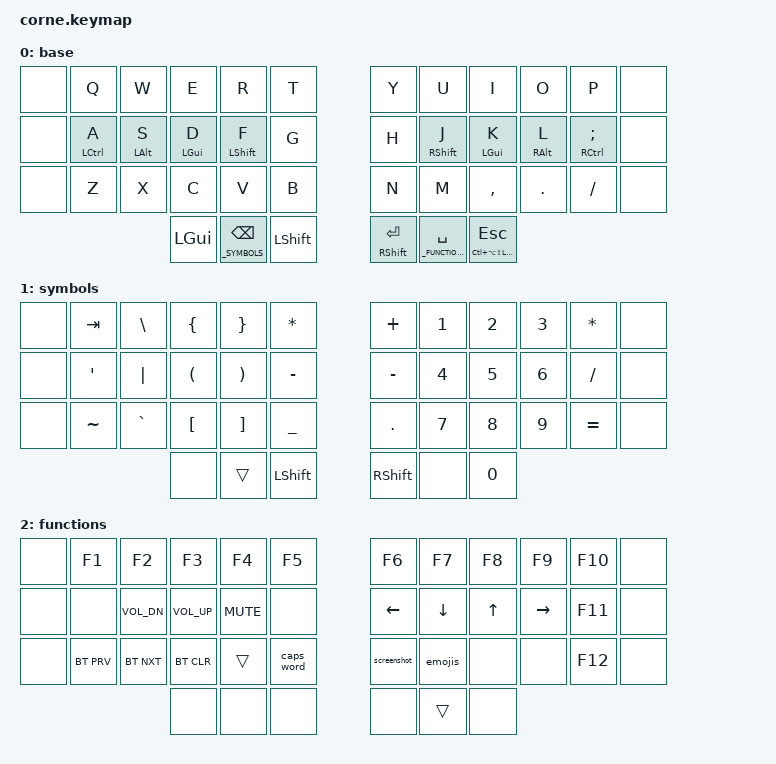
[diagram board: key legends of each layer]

#include <behaviors.dtsi>
#include <dt-bindings/zmk/keys.h>
#include <dt-bindings/zmk/bt.h>

#define _BASE      0
#define _SYMBOLS   1
#define _FUNCTIONS 2

/ {
        behaviors {
                hm_l: homerow_mods_left {
                        compatible = "zmk,behavior-hold-tap";
                        label = "HM_L";
                        #binding-cells = <2>;
                        bindings = <&kp>, <&kp>;
                        flavor = "tap-preferred";
                        tapping-term-ms = <200>;
                        quick-tap-ms = <250>;
                        require-prior-idle-ms = <150>;
                        hold-trigger-on-release;
                        /*
                        * Left-hand HRMs should only become holds when you press:
                        * - Any RIGHT-hand key positions (all rows)
                        * - Any THUMB key positions (both thumbs)
                        * This prevents same-hand rolls like A->S from turning into Ctrl/Alt/etc.
                        */
                        hold-trigger-key-positions = <
                                /* Right half (top, home, bottom) */
                                 6  7  8  9 10 11
                                18 19 20 21 22 23
                                30 31 32 33 34 35

                                /* Thumbs (both halves) */
                                36 37 38
                                39 40 41
                        >;
                };

                hm_r: homerow_mods_right {
                        compatible = "zmk,behavior-hold-tap";
                        label = "HM_R";
                        #binding-cells = <2>;
                        bindings = <&kp>, <&kp>;
                        flavor = "tap-preferred";
                        tapping-term-ms = <200>;
                        quick-tap-ms = <250>;
                        require-prior-idle-ms = <150>;
                        hold-trigger-on-release;
                        /*
                         * Right-hand HRMs should only become holds when you press:
                         * - Any LEFT-hand key positions (all rows)
                         * - Any THUMB key positions (both thumbs)
                         */
                         hold-trigger-key-positions = <
                                 /* Left half (top, home, bottom) */
                                  0  1  2  3  4  5
                                 12 13 14 15 16 17
                                 24 25 26 27 28 29

                                 /* Thumbs (both halves) */
                                 36 37 38
                                 39 40 41
                         >;
                };

                /* Layer-tap with quick-tap for double-tap-hold repeat */
                ltq: layer_tap_quick {
                        compatible = "zmk,behavior-hold-tap";
                        label = "LT_QUICK";
                        #binding-cells = <2>;
                        bindings = <&mo>, <&kp>;
                        flavor = "tap-preferred";
                        tapping-term-ms = <200>;
                        quick-tap-ms = <250>;
                };

                /* Mod-tap with quick-tap for double-tap-hold repeat */
                mtq: mod_tap_quick {
                        compatible = "zmk,behavior-hold-tap";
                        label = "MT_QUICK";
                        #binding-cells = <2>;
                        bindings = <&kp>, <&kp>;
                        flavor = "tap-preferred";
                        tapping-term-ms = <200>;
                        quick-tap-ms = <250>;
                };
        };

        macros {
                screenshot: screenshot {
                        label = "screenshot";
                        compatible = "zmk,behavior-macro";
                        #binding-cells = <0>;
                        bindings
                            = <&macro_press &kp RGUI>
                            , <&macro_press &kp LSHFT>
                            , <&macro_tap &kp N4>
                            , <&macro_release &kp LSHFT>
                            , <&macro_release &kp RGUI>
                            ;
                };

                emojis: emojis {
                        label = "emojis";
                        compatible = "zmk,behavior-macro";
                        #binding-cells = <0>;
                        bindings
                            = <&macro_press &kp RGUI>
                            , <&macro_press &kp LCTRL>
                            , <&macro_tap &kp SPACE>
                            , <&macro_release &kp LCTRL>
                            , <&macro_release &kp RGUI>
                            ;
                };
        };

        combos {
                compatible = "zmk,combos";

                combo_esc {
                        timeout-ms = <50>;
                        key-positions = <20 21>;
                        bindings = <&kp ESC>;
                };
        };

        keymap {
                compatible = "zmk,keymap";

                base_layer {
                        display-name = "base";
                        bindings = <
   &none    &kp Q            &kp W           &kp E           &kp R            &kp T      &kp Y    &kp U            &kp I           &kp O           &kp P               &none
   &none    &hm_l LCTRL A    &hm_l LALT S    &hm_l LGUI D    &hm_l LSHFT F    &kp G      &kp H    &hm_r RSHFT J    &hm_r LGUI K    &hm_r RALT L    &hm_r RCTRL SEMI    &none
   &none    &kp Z            &kp X           &kp C           &kp V            &kp B      &kp N    &kp M            &kp COMMA       &kp DOT         &kp FSLH            &none

   &kp LGUI    &ltq _SYMBOLS BSPC    &kp LSHFT      &mtq RSHFT RET   &ltq _FUNCTIONS SPACE   &mtq LC(LA(LS(LGUI))) ESC
                        >;
                };

                symbols_layer {
                        display-name = "symbols";
                        bindings = <
   &none    &kp TAB      &kp BSLH     &kp LBRC    &kp RBRC    &kp ASTRK      &kp PLUS     &kp N1      &kp N2      &kp N3    &kp ASTRK    &none
   &none    &kp APOS     &kp PIPE     &kp LPAR    &kp RPAR    &kp MINUS      &kp MINUS    &kp N4      &kp N5      &kp N6    &kp FSLH     &none
   &none    &kp TILDE    &kp GRAVE    &kp LBKT    &kp RBKT    &kp UNDER      &kp DOT      &kp N7      &kp N8      &kp N9    &kp EQUAL    &none

   &none    &trans    &kp LSHFT      &kp RSHFT    &none    &kp N0
                        >;
                };

                functions_layer {
                        display-name = "functions";
                        bindings = <
   &none    &kp F1        &kp F2          &kp F3          &kp F4        &kp F5          &kp F6         &kp F7      &kp F8    &kp F9       &kp F10    &none
   &none    &none         &kp K_VOL_DN    &kp K_VOL_UP    &kp K_MUTE    &none           &kp LEFT       &kp DOWN    &kp UP    &kp RIGHT    &kp F11    &none
   &none    &bt BT_PRV    &bt BT_NXT      &bt BT_CLR      &trans        &caps_word      &screenshot    &emojis     &none     &none        &kp F12    &none

   &none    &none    &none      &none    &trans   &none
                        >;
                };
        };
};

